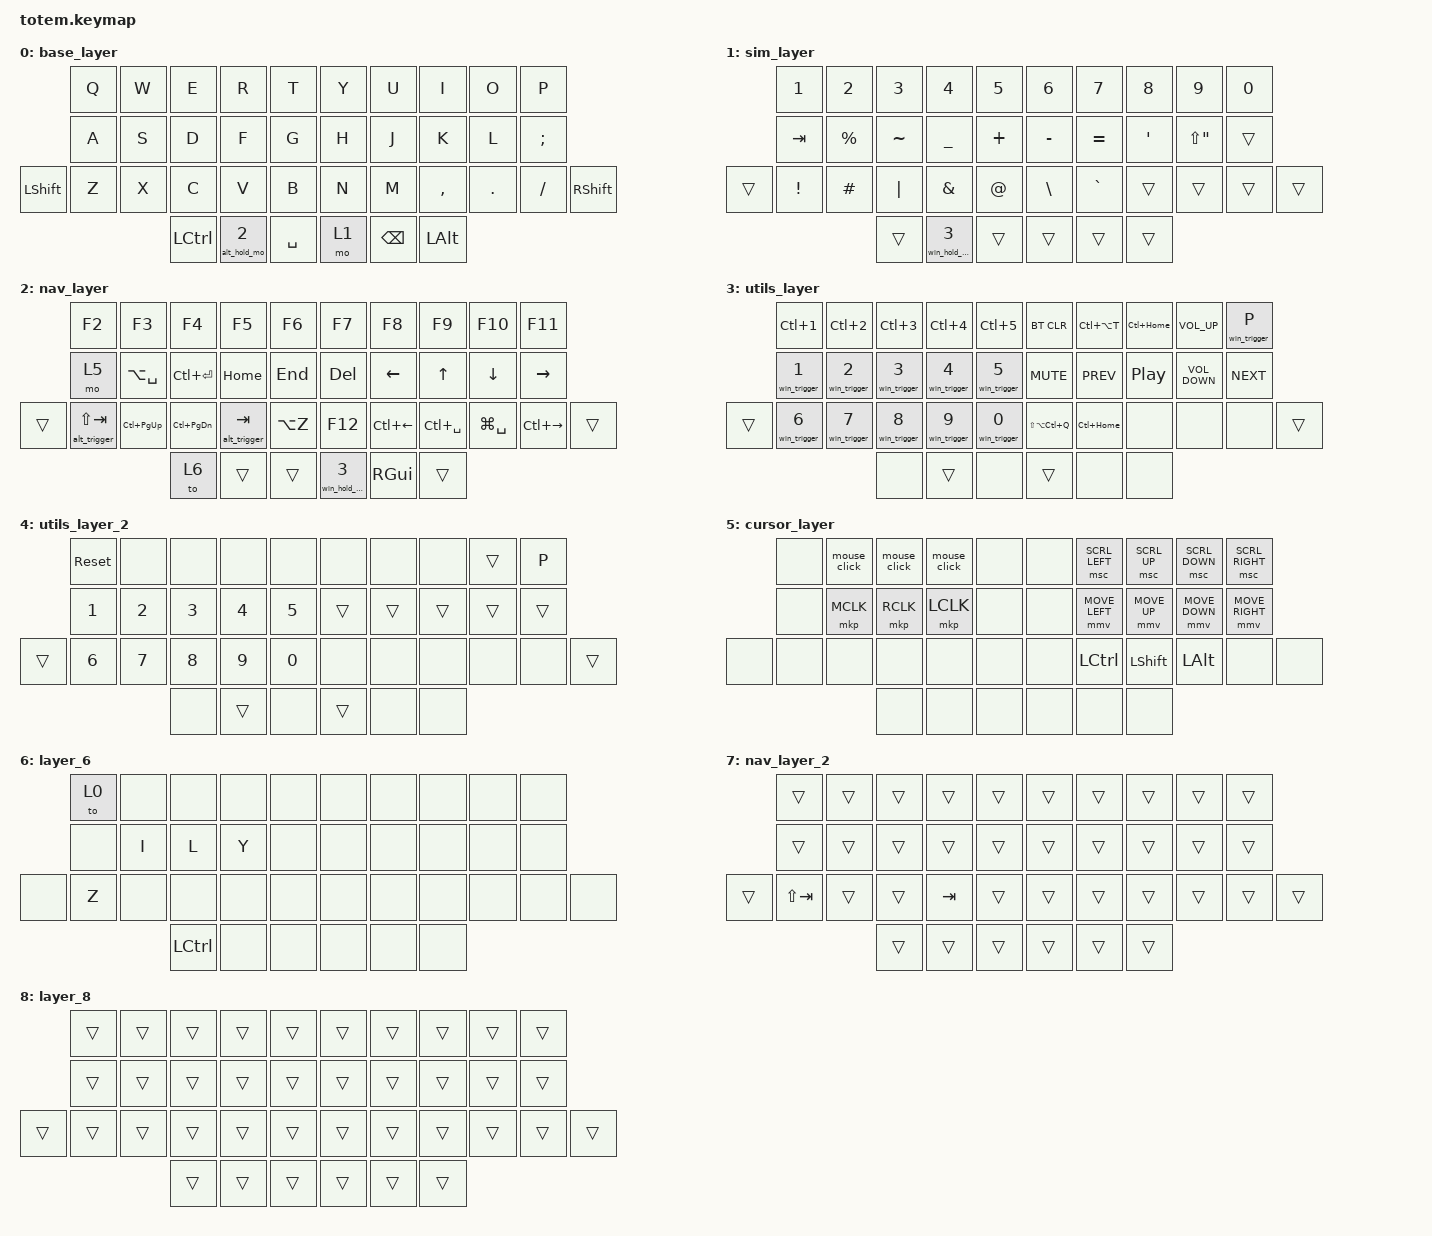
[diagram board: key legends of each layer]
#include <behaviors.dtsi>
#include <dt-bindings/zmk/bt.h>
#include <dt-bindings/zmk/keys.h>
#include <dt-bindings/zmk/pointing.h>

#define ZMK_POINTING_DEFAULT_MOVE_VAL 1650
#define ZMK_POINTING_DEFAULT_SCRL_VAL 22
#define BASE 0
#define NAV  1
#define SYM  2
#define ADJ  3

&mt {
    quick-tap-ms = <100>;
    global-quick-tap;
    flavor = "tap-preferred";
    tapping-term-ms = <170>;
};

/ {
    combos {
        compatible = "zmk,combos";

        combo_esc {
            timeout-ms = <50>;
            key-positions = <0 1>;
            bindings = <&panic_esc>;
            require-prior-idle-ms = <1>;
            layers = <0>;
        };

        combo_capslock {
            bindings = <&kp CAPSLOCK>;
            key-positions = <20 31>;
            require-prior-idle-ms = <1>;
        };

        left_backet {
            bindings = <&kp LPAR>;
            key-positions = <13 12>;
            layers = <0 1>;
            require-prior-idle-ms = <1>;
        };

        right_bracket {
            bindings = <&kp RPAR>;
            key-positions = <17 16>;
            layers = <0 1>;
            require-prior-idle-ms = <1>;
        };

        left_curly {
            bindings = <&kp LBRC>;
            key-positions = <12 11>;
            layers = <0 1>;
            require-prior-idle-ms = <1>;
        };

        right_curly {
            bindings = <&kp RBRC>;
            key-positions = <18 17>;
            layers = <0 1>;
            require-prior-idle-ms = <1>;
        };

        bt_0 {
            bindings = <&bt BT_SEL 0>;
            key-positions = <15 16>;
            layers = <3>;
        };

        bt_1 {
            bindings = <&bt BT_SEL 1>;
            key-positions = <16 17>;
            layers = <3>;
        };

        bt_2 {
            bindings = <&bt BT_SEL 2>;
            key-positions = <17 18>;
            layers = <3>;
        };

        bt_3 {
            bindings = <&bt BT_SEL 3>;
            key-positions = <18 19>;
            layers = <3>;
        };

        bt_4 {
            bindings = <&bt BT_SEL 4>;
            key-positions = <19 31>;
            layers = <3>;
        };

        screenshot {
            bindings = <&kp PRINTSCREEN>;
            key-positions = <22 23 24>;
            layers = <2>;
        };

        caret_combo {
            bindings = <&kp CARET>;
            key-positions = <23 24>;
            layers = <1>;
            require-prior-idle-ms = <1>;
        };

        asterisk_combo {
            bindings = <&kp STAR>;
            key-positions = <22 23>;
            layers = <1>;
            require-prior-idle-ms = <1>;
        };

        dollar_combo {
            bindings = <&kp DOLLAR>;
            key-positions = <11 10>;
            layers = <1>;
            require-prior-idle-ms = <1>;
        };

        enter_combo_1 {
            bindings = <&kp ENTER>;
            key-positions = <16 17 18>;
            layers = <0 1>;
            require-prior-idle-ms = <1>;
        };

        enter_combo_2 {
            bindings = <&kp ENTER>;
            key-positions = <11 12 13>;
            layers = <1 0>;
            require-prior-idle-ms = <1>;
        };

        left_square_2 {
            bindings = <&kp LBKT>;
            key-positions = <11 13>;
            layers = <0 1>;
            require-prior-idle-ms = <1>;
        };

        right_square_2 {
            bindings = <&kp RIGHT_BRACKET>;
            key-positions = <16 18>;
            layers = <0 1>;
            require-prior-idle-ms = <1>;
        };
    };

    macros {
        win_hold_mo: win_hold_mo {
            compatible = "zmk,behavior-macro-one-param";
            #binding-cells = <1>;
            bindings =
                <&macro_param_1to1>,
                <&macro_press>,
                <&mo MACRO_PLACEHOLDER &macro_param_1to1>,
                <&macro_pause_for_release>,
                <&macro_release>,
                <&mo MACRO_PLACEHOLDER &kp RGUI &mo 4>;

            label = "WIN_HOLD_MO";
        };

        win_trigger: win_switch_trigger {
            compatible = "zmk,behavior-macro-one-param";
            #binding-cells = <1>;
            bindings =
                <&macro_press>,
                <&kp RGUI &macro_param_1to1>,
                <&macro_tap>,
                <&kp MACRO_PLACEHOLDER>,
                <&macro_press>,
                <&mo 4>;

            label = "WIN_SWITCH_TRIGGER";
        };

        alt_hold_mo: alt_hold_mo {
            compatible = "zmk,behavior-macro-one-param";
            #binding-cells = <1>;
            bindings =
                <&macro_param_1to1>,
                <&macro_press>,
                <&mo MACRO_PLACEHOLDER &macro_param_1to1>,
                <&macro_pause_for_release>,
                <&macro_release>,
                <&mo MACRO_PLACEHOLDER &kp RALT &mo 7>;

            label = "ALT_HOLD_MO";
        };

        alt_trigger: alt_trigger {
            compatible = "zmk,behavior-macro-one-param";
            #binding-cells = <1>;
            bindings =
                <&macro_press>,
                <&kp RALT &macro_param_1to1>,
                <&macro_tap>,
                <&kp MACRO_PLACEHOLDER>,
                <&macro_press>,
                <&mo 7>;

            label = "ALT_TRIGGER";
        };

        panic_esc: panic_esc {
            compatible = "zmk,behavior-macro";
            #binding-cells = <0>;
            bindings =
                <&macro_release>,
                <&kp RGUI &kp RALT>,
                <&macro_tap>,
                <&kp ESC>;

            label = "PANIC_ESC";
        };

        mouse_click: mouse_click {
            compatible = "zmk,behavior-macro";
            #binding-cells = <0>;
            bindings = <&macro_tap>, <&mkp LCLK>, <&macro_release>, <&mkp LCLK>;

            label = "MOUSE_CLICK";
        };
    };

    keymap {
        compatible = "zmk,keymap";

        // ▄▄▄▄▄▄▄▄▄▄▄▄▄▄▄▄▄▄▄▄▄▄▄▄▄▄▄▄▄▄▄▄▄▄▄▄▄▄▄▄▄▄▄▄▄▄▄▄▄▄▄▄▄▄▄▄▄▄▄▄▄▄▄▄▄▄▄▄▄▄▄▄▄▄▄▄▄▄▄▄▄▄▄▄▄▄▄▄▄▄▄▄▄▄▄▄▄▄▄▄▄▄▄▄▄▄▄▄▄▄▄▄▄▄▄▄▄▄▄▄▄▄▄▄▄▄▄▄▄▄▄▄▄▄▄▄▄▄▄▄▄▄▄▄▄▄▄▄▄

        base_layer {
            // ┏━━━━━━━━━━━━━━━━━━━━━━━━━━━━━━━━━━━━━━━┓
            // ┗━━━━━━━━━━━━━━━━━━━━━━━━━━━━━━━━━━━━━━━┛
            //             ┏━━━━━━━━━━━┳━━━━━━━━━━━┳━━━━━━━━━━━┳━━━━━━━━━━━┳━━━━━━━━━━━┓   ┏━━━━━━━━━━━┳━━━━━━━━━━━┳━━━━━━━━━━━┳━━━━━━━━━━━┳━━━━━━━━━━━┓
            //             ┃     Q     ┃     W     ┃     F     ┃     P     ┃     G     ┃   ┃     J     ┃     L     ┃     U     ┃     Y     ┃     ;     ┃
            //             ┣━━━━━━━━━━━╋━━━━━━━━━━━╋━━━━━━━━━━━╋━━━━━━━━━━━╋━━━━━━━━━━━┫   ┣━━━━━━━━━━━╋━━━━━━━━━━━╋━━━━━━━━━━━╋━━━━━━━━━━━╋━━━━━━━━━━━┫
            //             ┃     A     ┃     R     ┃     S     ┃     T     ┃     D     ┃   ┃     H     ┃     N     ┃     E     ┃     I     ┃     O     ┃
            // ┏━━━━━━━━━━━╋━━━━━━━━━━━╋━━━━━━━━━━━╋━━━━━━━━━━━╋━━━━━━━━━━━╋━━━━━━━━━━━┫   ┣━━━━━━━━━━━╋━━━━━━━━━━━╋━━━━━━━━━━━╋━━━━━━━━━━━╋━━━━━━━━━━━╋━━━━━━━━━━━┓
            // ┃           ┃     Z     ┃     X     ┃     C     ┃     V     ┃     B     ┃   ┃     K     ┃     M     ┃     ,     ┃     .     ┃     /     ┃           ┃
            // ┗━━━━━━━━━━━┻━━━━━━━━━━━┻━━━━━━━━━━━╋━━━━━━━━━━━╋━━━━━━━━━━━╋━━━━━━━━━━━┫   ┣━━━━━━━━━━━╋━━━━━━━━━━━╋━━━━━━━━━━━╋━━━━━━━━━━━┻━━━━━━━━━━━┻━━━━━━━━━━━┛
            //                                     ┃           ┃    TAB    ┃    SPC    ┃   ┃   ENTER   ┃   BSPC    ┃           ┃
            //                                     ┗━━━━━━━━━━━┻━━━━━━━━━━━┻━━━━━━━━━━━┛   ┗━━━━━━━━━━━┻━━━━━━━━━━━┻━━━━━━━━━━━┛

            bindings = <
                &kp Q  &kp W  &kp E      &kp R           &kp T        &kp Y  &kp U          &kp I      &kp O    &kp P
                &kp A  &kp S  &kp D      &kp F           &kp G        &kp H  &kp J          &kp K      &kp L    &kp SEMI
&kp LEFT_SHIFT  &kp Z  &kp X  &kp C      &kp V           &kp B        &kp N  &kp M          &kp COMMA  &kp DOT  &kp FSLH  &kp RIGHT_SHIFT
                              &kp LCTRL  &alt_hold_mo 2  &kp SPACE    &mo 1  &kp BACKSPACE  &kp LALT
            >;
        };

        sim_layer {
            // ┏━━━━━━━━━━━━━━━━━━━━━━━━━━━━━━━━━━━━━━━┓
            // ┗━━━━━━━━━━━━━━━━━━━━━━━━━━━━━━━━━━━━━━━┛
            //             ┏━━━━━━━━━━━┳━━━━━━━━━━━┳━━━━━━━━━━━┳━━━━━━━━━━━┳━━━━━━━━━━━┓   ┏━━━━━━━━━━━┳━━━━━━━━━━━┳━━━━━━━━━━━┳━━━━━━━━━━━┳━━━━━━━━━━━┓
            //             ┃     !     ┃     @     ┃     #     ┃     $     ┃     %     ┃   ┃     ˆ     ┃     &     ┃     Ü     ┃     '     ┃     "     ┃
            //             ┣━━━━━━━━━━━╋━━━━━━━━━━━╋━━━━━━━━━━━╋━━━━━━━━━━━╋━━━━━━━━━━━┫   ┣━━━━━━━━━━━╋━━━━━━━━━━━╋━━━━━━━━━━━╋━━━━━━━━━━━╋━━━━━━━━━━━┫
            //             ┃     Ä     ┃           ┃    SZ     ┃           ┃           ┃   ┃   MUTE    ┃   YEN     ┃   EURO    ┃  POUND    ┃     Ö     ┃
            // ┏━━━━━━━━━━━╋━━━━━━━━━━━╋━━━━━━━━━━━╋━━━━━━━━━━━╋━━━━━━━━━━━╋━━━━━━━━━━━┫   ┣━━━━━━━━━━━╋━━━━━━━━━━━╋━━━━━━━━━━━╋━━━━━━━━━━━╋━━━━━━━━━━━╋━━━━━━━━━━━┓
            // ┃           ┃  EMAIL1   ┃  EMAIL2   ┃           ┃           ┃           ┃   ┃   VOL-    ┃   VOL+    ┃   LAST    ┃   NEXT    ┃     \     ┃           ┃
            // ┗━━━━━━━━━━━┻━━━━━━━━━━━┻━━━━━━━━━━━╋━━━━━━━━━━━╋━━━━━━━━━━━╋━━━━━━━━━━━┫   ┣━━━━━━━━━━━╋━━━━━━━━━━━╋━━━━━━━━━━━╋━━━━━━━━━━━┻━━━━━━━━━━━┻━━━━━━━━━━━┛
            //                                     ┃           ┃    GIF    ┃    ADJ    ┃   ┃           ┃           ┃           ┃
            //                                     ┗━━━━━━━━━━━┻━━━━━━━━━━━┻━━━━━━━━━━━┛   ┗━━━━━━━━━━━┻━━━━━━━━━━━┻━━━━━━━━━━━┛

            bindings = <
        &kp NUMBER_1  &kp NUMBER_2  &kp NUMBER_3  &kp NUMBER_4    &kp NUMBER_5    &kp N6         &kp N7     &kp N8            &kp N9                 &kp N0
        &kp TAB       &kp PERCENT   &kp TILDE     &kp UNDER       &kp PLUS        &kp MINUS      &kp EQUAL  &kp SINGLE_QUOTE  &kp LS(DOUBLE_QUOTES)  &trans
&trans  &kp EXCL      &kp HASH      &kp PIPE      &kp AMPS        &kp AT          &kp BACKSLASH  &kp GRAVE  &trans            &trans                 &trans  &trans
                                    &trans        &win_hold_mo 3  &trans          &trans         &trans     &trans
            >;
        };

        nav_layer {
            // ┏━━━━━━━━━━━━━━━━━━━━━━━━━━━━━━━━━━━━━━━┓
            // ┗━━━━━━━━━━━━━━━━━━━━━━━━━━━━━━━━━━━━━━━┛
            //             ┏━━━━━━━━━━━┳━━━━━━━━━━━┳━━━━━━━━━━━┳━━━━━━━━━━━┳━━━━━━━━━━━┓   ┏━━━━━━━━━━━┳━━━━━━━━━━━┳━━━━━━━━━━━┳━━━━━━━━━━━┳━━━━━━━━━━━┓
            //             ┃           ┃           ┃     UP    ┃           ┃     {     ┃   ┃     }     ┃     7     ┃     8     ┃     9     ┃     +     ┃
            //             ┣━━━━━━━━━━━╋━━━━━━━━━━━╋━━━━━━━━━━━╋━━━━━━━━━━━╋━━━━━━━━━━━┫   ┣━━━━━━━━━━━╋━━━━━━━━━━━╋━━━━━━━━━━━╋━━━━━━━━━━━╋━━━━━━━━━━━┫
            //             ┃   SHIFT   ┃   LEFT    ┃    DOWN   ┃   RIGHT   ┃     [     ┃   ┃     ]     ┃     4     ┃     5     ┃     6     ┃     -     ┃
            // ┏━━━━━━━━━━━╋━━━━━━━━━━━╋━━━━━━━━━━━╋━━━━━━━━━━━╋━━━━━━━━━━━╋━━━━━━━━━━━┫   ┣━━━━━━━━━━━╋━━━━━━━━━━━╋━━━━━━━━━━━╋━━━━━━━━━━━╋━━━━━━━━━━━╋━━━━━━━━━━━┓
            // ┃           ┃           ┃   P UP    ┃  C LOCK   ┃  P DOWN   ┃     (     ┃   ┃     )     ┃     1     ┃     2     ┃     3     ┃     *     ┃           ┃
            // ┗━━━━━━━━━━━┻━━━━━━━━━━━┻━━━━━━━━━━━╋━━━━━━━━━━━╋━━━━━━━━━━━╋━━━━━━━━━━━┫   ┣━━━━━━━━━━━╋━━━━━━━━━━━╋━━━━━━━━━━━╋━━━━━━━━━━━┻━━━━━━━━━━━┻━━━━━━━━━━━┛
            //                                     ┃           ┃    TAB    ┃    SPC    ┃   ┃    DEL    ┃     0     ┃           ┃
            //                                     ┗━━━━━━━━━━━┻━━━━━━━━━━━┻━━━━━━━━━━━┛   ┗━━━━━━━━━━━┻━━━━━━━━━━━┻━━━━━━━━━━━┛

            bindings = <
        &kp F2                &kp F3         &kp F4             &kp F5            &kp F6       &kp F7          &kp F8        &kp F9         &kp F10        &kp F11
        &mo 5                 &kp LA(SPACE)  &kp LC(ENTER)      &kp HOME          &kp END      &kp DELETE      &kp LEFT      &kp UP_ARROW   &kp DOWN       &kp RIGHT
&trans  &alt_trigger LS(TAB)  &kp LC(PG_UP)  &kp LC(PAGE_DOWN)  &alt_trigger TAB  &kp LA(Z)    &kp F12         &kp LC(LEFT)  &kp LC(SPACE)  &kp LG(SPACE)  &kp LC(RIGHT)  &trans
                                             &to 6              &trans            &trans       &win_hold_mo 3  &kp RGUI      &trans
            >;
        };

        utils_layer {
            bindings = <
        &kp LC(NUMBER_1)  &kp LC(NUMBER_2)  &kp LC(NUMBER_3)  &kp LC(NUMBER_4)  &kp LC(N5)         &bt BT_CLR         &kp LC(LA(T))  &kp LC(HOME)  &kp C_VOLUME_UP    &win_trigger P
        &win_trigger N1   &win_trigger N2   &win_trigger N3   &win_trigger N4   &win_trigger N5    &kp K_MUTE         &kp C_PREV     &kp C_PP      &kp C_VOLUME_DOWN  &kp C_NEXT
&trans  &win_trigger N6   &win_trigger N7   &win_trigger N8   &win_trigger N9   &win_trigger N0    &kp LS(LA(LC(Q)))  &kp LC(HOME)   &none         &none              &none           &trans
                                            &none             &trans            &none              &trans             &none          &none
            >;
        };

        utils_layer_2 {
            // ┏━━━━━━━━━━━━━━━━━━━━━━━━━━━━━━━━━━━━━━━┓
            // ┗━━━━━━━━━━━━━━━━━━━━━━━━━━━━━━━━━━━━━━━┛
            //             ┏━━━━━━━━━━━┳━━━━━━━━━━━┳━━━━━━━━━━━┳━━━━━━━━━━━┳━━━━━━━━━━━┓   ┏━━━━━━━━━━━┳━━━━━━━━━━━┳━━━━━━━━━━━┳━━━━━━━━━━━┳━━━━━━━━━━━┓
            //             ┃   RESET   ┃ BT CLEAR  ┃  OUT TOG  ┃           ┃           ┃   ┃           ┃    F7     ┃    F8     ┃    F9     ┃    F12    ┃
            //             ┣━━━━━━━━━━━╋━━━━━━━━━━━╋━━━━━━━━━━━╋━━━━━━━━━━━╋━━━━━━━━━━━┫   ┣━━━━━━━━━━━╋━━━━━━━━━━━╋━━━━━━━━━━━╋━━━━━━━━━━━╋━━━━━━━━━━━┫
            //             ┃ BOOTLOAD  ┃ BT NEXT   ┃           ┃           ┃           ┃   ┃           ┃    F4     ┃    F5     ┃    F6     ┃    F11    ┃
            // ┏━━━━━━━━━━━╋━━━━━━━━━━━╋━━━━━━━━━━━╋━━━━━━━━━━━╋━━━━━━━━━━━╋━━━━━━━━━━━┫   ┣━━━━━━━━━━━╋━━━━━━━━━━━╋━━━━━━━━━━━╋━━━━━━━━━━━╋━━━━━━━━━━━╋━━━━━━━━━━━┓
            // ┃           ┃           ┃ BT PREV   ┃           ┃           ┃           ┃   ┃           ┃    F1     ┃    F2     ┃    F3     ┃    F10    ┃           ┃
            // ┗━━━━━━━━━━━┻━━━━━━━━━━━┻━━━━━━━━━━━╋━━━━━━━━━━━╋━━━━━━━━━━━╋━━━━━━━━━━━┫   ┣━━━━━━━━━━━╋━━━━━━━━━━━╋━━━━━━━━━━━╋━━━━━━━━━━━┻━━━━━━━━━━━┻━━━━━━━━━━━┛
            //                                     ┃           ┃           ┃           ┃   ┃           ┃           ┃           ┃
            //                                     ┗━━━━━━━━━━━┻━━━━━━━━━━━┻━━━━━━━━━━━┛   ┗━━━━━━━━━━━┻━━━━━━━━━━━┻━━━━━━━━━━━┛

            bindings = <
        &sys_reset  &none   &none   &none   &none     &none   &none   &none   &trans  &kp P
        &kp N1      &kp N2  &kp N3  &kp N4  &kp N5    &trans  &trans  &trans  &trans  &trans
&trans  &kp N6      &kp N7  &kp N8  &kp N9  &kp N0    &none   &none   &none   &none   &none   &trans
                            &none   &trans  &none     &trans  &none   &none
            >;
        };

        cursor_layer {
            bindings = <
       &none  &mouse_click  &mouse_click  &mouse_click  &none    &none  &msc SCRL_LEFT  &msc SCRL_UP    &msc SCRL_DOWN  &msc SCRL_RIGHT
       &none  &mkp MCLK     &mkp RCLK     &mkp LCLK     &none    &none  &mmv MOVE_LEFT  &mmv MOVE_UP    &mmv MOVE_DOWN  &mmv MOVE_RIGHT
&none  &none  &none         &none         &none         &none    &none  &kp LCTRL       &kp LEFT_SHIFT  &kp LEFT_ALT    &none            &none
                            &none         &none         &none    &none  &none           &none
            >;
        };

        layer_6 {
            bindings = <
       &to 0  &none  &none      &none  &none    &none  &none  &none  &none  &none
       &none  &kp I  &kp L      &kp Y  &none    &none  &none  &none  &none  &none
&none  &kp Z  &none  &none      &none  &none    &none  &none  &none  &none  &none  &none
                     &kp LCTRL  &none  &none    &none  &none  &none
            >;
        };

        nav_layer_2 {
            bindings = <
        &trans       &trans  &trans  &trans   &trans    &trans  &trans  &trans  &trans  &trans
        &trans       &trans  &trans  &trans   &trans    &trans  &trans  &trans  &trans  &trans
&trans  &kp LS(TAB)  &trans  &trans  &kp TAB  &trans    &trans  &trans  &trans  &trans  &trans  &trans
                             &trans  &trans   &trans    &trans  &trans  &trans
            >;
        };

        layer_8 {
            bindings = <
        &trans  &trans  &trans  &trans  &trans    &trans  &trans  &trans  &trans  &trans
        &trans  &trans  &trans  &trans  &trans    &trans  &trans  &trans  &trans  &trans
&trans  &trans  &trans  &trans  &trans  &trans    &trans  &trans  &trans  &trans  &trans  &trans
                        &trans  &trans  &trans    &trans  &trans  &trans
            >;
        };
    };
};
